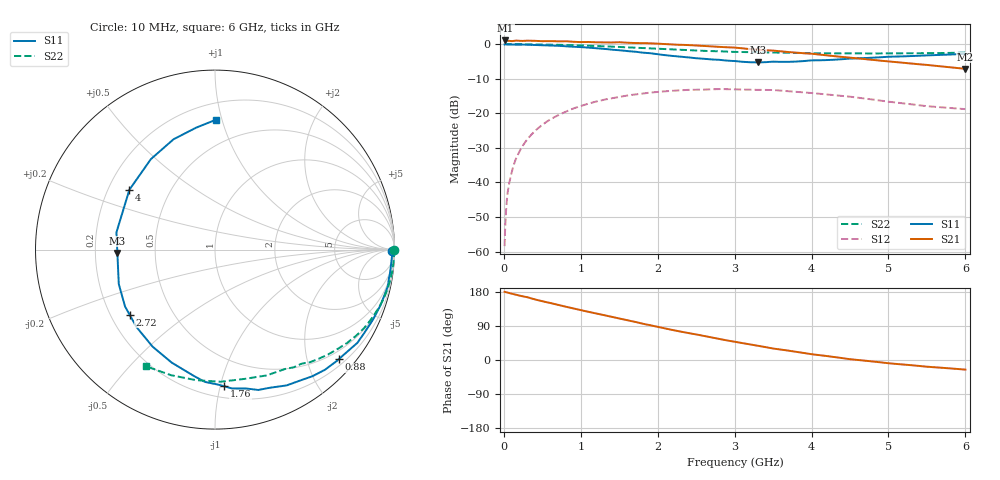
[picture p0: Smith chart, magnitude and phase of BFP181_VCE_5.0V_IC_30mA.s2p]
! Infineon Technologies  Discrete & RF Semiconductors
! BFP181
! VCE = 5.0 V,  IC =  30 mA
! Common Emitter S-Parameters:  Jan 2016
# GHz  S  MA  R  50
!  f  S11  S21  S12  S22
! GHz  MAG  ANG  MAG  ANG  MAG  ANG  MAG  ANG
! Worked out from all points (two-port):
!   210 points, 10 MHz to 6 GHz, reference 50 ohm
!   highest |S21| = 1.05 dB at 20 MHz (marker M1); lowest = -7.2 dB at 6 GHz (marker M2)
!   |S21| within 3 dB of the highest: start of sweep to 3.533 GHz
!   lowest |S11| = -5.3 dB at 3.3 GHz (marker M3), VSWR 3.39, Z = 14.8 - j0.797 ohm
!   |S11| at or under -10 dB: nowhere
!   |S22| runs from -2.7 to 0.0 dB; largest |S21 - S12| = 1.1
!   S11 on the Smith chart (normalised r, x): 10 MHz: open; 880 MHz: 0.32, -2.60; 1.76 GHz: 0.28, -1.03; 2.72 GHz: 0.28, -0.31; 4 GHz: 0.29, +0.29; 6 GHz: 0.32, +0.96
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0.01  0.9879 -0.6  1.105 179.9  0.0012 85.0  0.9994 -0.1
0.015  0.9909 -0.7  1.117 179.7  0.0019 87.1  0.9994 -0.3
0.02  0.9939 -0.8  1.129 179.6  0.0026 88.0  0.9995 -0.4
0.025  0.9927 -1.0  1.128 179.3  0.0034 88.5  0.9992 -0.5
0.04  0.9892 -1.7  1.125 178.2  0.0057 89.2  0.9982 -0.9
0.08  0.9853 -3.7  1.11 176.1  0.0111 86.7  0.998 -1.9
0.145  0.9845 -6.8  1.123 172.9  0.0203 84.6  0.9975 -3.4
0.24  0.9841 -11.3  1.111 168.2  0.0332 81.5  0.9954 -5.7
0.5  0.9629 -23.9  1.102 154.9  0.068 72.5  0.9884 -11.7
0.88  0.9212 -41.5  1.085 137.2  0.1145 59.0  0.9653 -20.4
1.02  0.9036 -48.5  1.069 130.8  0.1295 54.5  0.9545 -23.4
1.5  0.8182 -72.9  1.064 109.4  0.1727 39.1  0.9098 -33.4
1.76  0.763 -86.2  1.034 97.8  0.1907 31.5  0.883 -38.3
2.02  0.7093 -100.4  1.011 86.7  0.205 24.2  0.859 -42.9
2.72  0.5983 -142.7  0.922 58.7  0.2223 5.8  0.7921 -54.9
3.1  0.5552 -166.0  0.868 44.8  0.2204 -3.5  0.7674 -61.2
3.3  0.5443 -178.0  0.83 37.8  0.2181 -7.8  0.7614 -64.4
4  0.5821 145.0  0.726 15.3  0.1964 -21.2  0.7388 -77.2
4.1  0.5835 140.9  0.706 12.9  0.1916 -22.5  0.7365 -79.3
4.5  0.6179 125.3  0.639 2.1  0.1737 -28.6  0.7369 -87.6
5.1  0.6605 108.2  0.549 -10.3  0.143 -31.4  0.7341 -100.5
6  0.7234 89.6  0.439 -25.4  0.1148 -24.6  0.7548 -120.4
